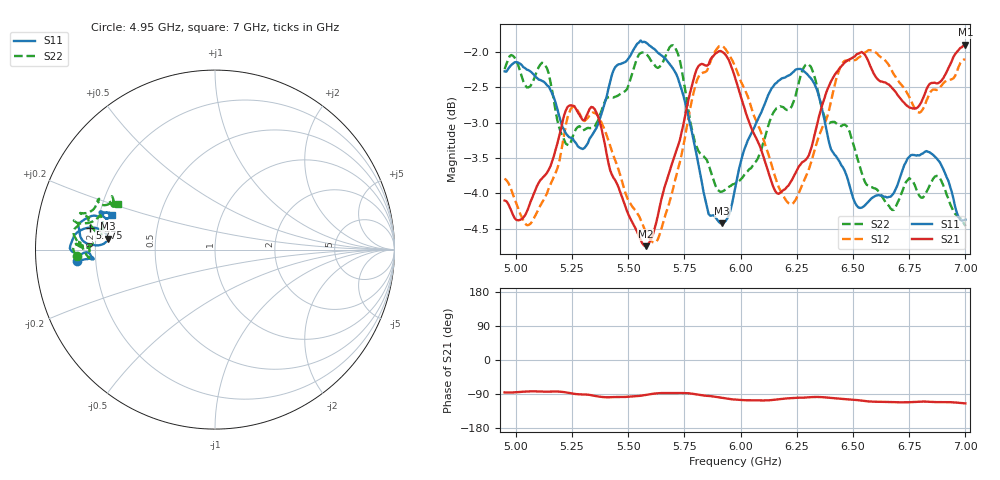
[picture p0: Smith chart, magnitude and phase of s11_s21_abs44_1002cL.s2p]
! MS46122B
! 1919307/90821646
! 5/16/2022 1:55:59 PM
! C:\USERS\PC_\DESKTOP\CARACTERIZACION\MEDICIONES\BANDA ANCHA\S11_S21_ABS44_1002C.S2P
! CHANNEL.1
! TR.MEASUREMENT
! CORRECTED.DATA
# GHZ S RI R 50.0
! FREQ.GHZ  S11RE  S11IM  S21RE  S21IM  S12RE  S12IM  S22RE  S22IM
!; PortSelection: Port_12
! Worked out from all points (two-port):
!   272 points, 4.95 GHz to 7 GHz, reference 50 ohm
!   highest |S21| = -1.90 dB at 7 GHz (marker M1); lowest = -4.7 dB at 5.578 GHz (marker M2)
!   |S21| within 3 dB of the highest: start of sweep to end of sweep
!   lowest |S11| = -4.4 dB at 5.918 GHz (marker M3), VSWR 4.01, Z = 12.5 + j2.37 ohm
!   |S11| at or under -10 dB: nowhere
!   |S22| runs from -4.5 to -1.9 dB; largest |S21 - S12| = 0.042
!   S11 on the Smith chart (normalised r, x): 4.95 GHz: 0.13, -0.04; 5.775 GHz: 0.17, +0.08; 7 GHz: 0.25, +0.15
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4.95  -0.7671 -0.0623  0.0488 -0.6217  0.0494 -0.6445  -0.7715 -0.0344
5.002952  -0.7785 -0.0653  0.0528 -0.6019  0.0407 -0.6188  -0.7819 0.024
5.123985  -0.7559 -0.0357  0.0732 -0.6444  0.0558 -0.6219  -0.7787 0.0378
5.184502  -0.7238 -0.0156  0.0812 -0.6792  0.0665 -0.6535  -0.7105 0.01
5.245018  -0.6896 -0.0389  0.0276 -0.7277  0.0521 -0.7223  -0.685 0.038
5.29797  -0.676 -0.0536  -0.0127 -0.7106  0.013 -0.7109  -0.699 -0.00182
5.343358  -0.6935 -0.0517  -0.0473 -0.7241  -0.0138 -0.7196  -0.7003 -0.0477
5.464391  -0.7783 -0.0257  -0.0864 -0.6262  -0.1107 -0.6405  -0.7414 0.0207
5.57786  -0.8064 0.0223  -0.0227 -0.5785  -0.0406 -0.5915  -0.7838 0.1112
5.638376  -0.7889 0.0669  0.0273 -0.6149  0.00908 -0.5892  -0.762 0.1403
5.706458  -0.7632 0.0993  0.0323 -0.6699  0.0217 -0.6425  -0.7855 0.1599
5.774539  -0.696 0.1225  0.0241 -0.7423  0.0242 -0.7226  -0.6952 0.1511
5.850185  -0.6105 0.0927  -0.063 -0.774  -0.0315 -0.7696  -0.6381 0.191
5.918266  -0.5977 0.0605  -0.1353 -0.7826  -0.1045 -0.7951  -0.6263 0.091
5.978782  -0.6394 0.0256  -0.1931 -0.7336  -0.1835 -0.7513  -0.6319 0.1107
6.077122  -0.7109 0.0326  -0.1958 -0.6576  -0.2185 -0.6699  -0.6608 0.0982
6.152768  -0.7503 0.0736  -0.1601 -0.6133  -0.1786 -0.6236  -0.7041 0.1605
6.319188  -0.7418 0.1577  -0.0922 -0.6771  -0.1034 -0.6605  -0.7438 0.2027
6.455351  -0.6281 0.1969  -0.1724 -0.7588  -0.1419 -0.7679  -0.649 0.2761
6.659594  -0.6033 0.1721  -0.2707 -0.7029  -0.2865 -0.7228  -0.5651 0.251
6.788192  -0.6396 0.2043  -0.2513 -0.6809  -0.2713 -0.6669  -0.5666 0.2787
7  -0.5738 0.1903  -0.334 -0.731  -0.312 -0.7195  -0.5421 0.2533
